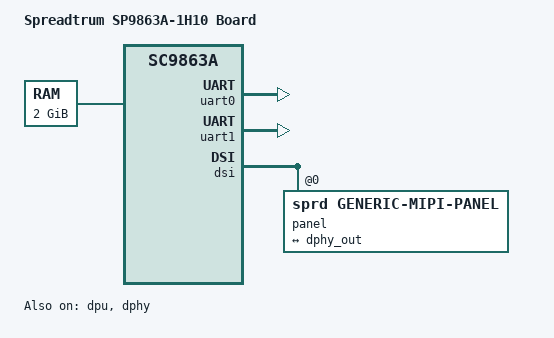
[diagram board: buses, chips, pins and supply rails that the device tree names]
// SPDX-License-Identifier: GPL-2.0-only
/*
 * Unisoc SP9863A-1h10 boards DTS file
 *
 * Copyright (C) 2019, Unisoc Inc.
 */

/dts-v1/;

#include <dt-bindings/gpio/gpio.h>
#include "sc9863a/sc9863a.dtsi"
#include "sc2721/sc2721.dtsi"
#include "reserved-memory/sp9863a-common.dtsi"

/ {
	model = "Spreadtrum SP9863A-1H10 Board";

	compatible = "sprd,sp9863a-1h10", "sprd,sc9863a";

	aliases {
		serial0 = &uart0;
		serial1 = &uart1;
	};

	memory@80000000 {
		device_type = "memory";
		reg = <0x0 0x80000000 0x0 0x80000000>;
	};

	chosen {
		stdout-path = "serial1:921600n8";
		bootargs = "earlycon console=ttyS1,921600n8 loop.max_part=7 loglevel=1
		init=/init root=/dev/ram0 rw printk.devkmsg=on dummy_hcd.num=0 vmalloc=300M";
	};
};

&uart0 {
	status = "okay";
};

&uart1 {
	status = "okay";
};

&dpu {
	sprd,logo-memory = <&logo_reserved>;
	status = "okay";
};

&iommu_dispc {
	status = "okay";
};

&dsi {
	status = "okay";
	#address-cells = <1>;
	#size-cells = <0>;

	panel: panel {
		compatible = "sprd,generic-mipi-panel";
		#address-cells = <1>;
		#size-cells = <0>;
		reg = <0>;

		port@1 {
			reg = <1>;
			panel_in: endpoint {
				remote-endpoint = <&dphy_out>;
			};
		};
	};
};

&dphy {
	status = "okay";
};

